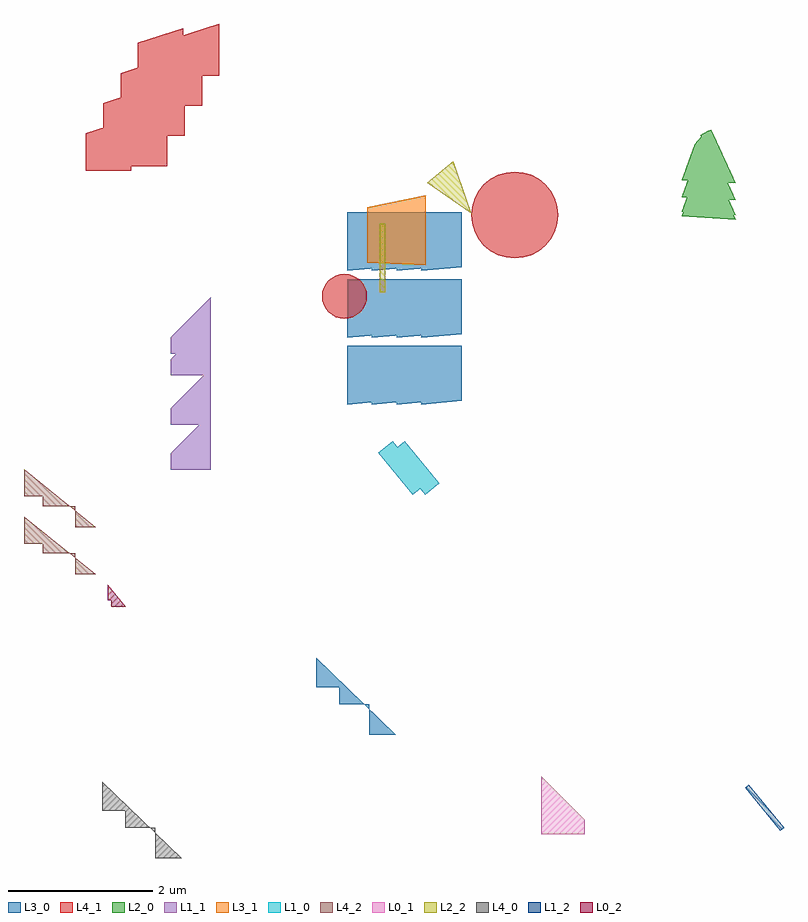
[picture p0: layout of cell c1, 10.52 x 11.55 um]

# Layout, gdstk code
from math import pi, radians
import gdstk
lib = gdstk.Library(unit=1e-6, precision=2.5e-09)
def R(c, l, rs):  # rectangles x0, y0, x1, y1
    for r in rs: c.add(gdstk.rectangle(r[:2], r[2:], *l))
def P(c, l, *ps):  # polygons
    for p in ps: c.add(gdstk.Polygon(p, *l))
L0_1 = (0, 1)
L0_2 = (0, 2)
L1_0 = (1, 0)
L1_1 = (1, 1)
L1_2 = (1, 2)
L2_0 = (2, 0)
L2_2 = (2, 2)
L3_0 = (3, 0)
L3_1 = (3, 1)
L4_0 = (4, 0)
L4_1 = (4, 1)
L4_2 = (4, 2)

c_c0 = lib.new_cell('c0')
P(c_c0, L0_1, [(-1.865,-4.2775),(-1.865,-4.0775),(-1.265,-3.4775),(-1.265,-4.2775)])
P(c_c0, L0_2, [(4.4825,-1.13),(4.6825,-1.13),(4.6825,-1.0375),(4.735,-1.0375),(4.735,-0.825)])
P(c_c0, L1_1, [(3.305,0.7675),(3.305,1.5475),(3.86,0.9925),(3.86,0.7675)],
  [(3.305,1.39),(3.305,2.17),(3.86,1.615),(3.86,1.39)],
  [(3.305,2.0725),(3.305,2.8525),(3.86,2.2975),(3.86,2.0725)],
  [(3.305,2.375),(3.305,3.155),(3.86,2.6),(3.86,2.375)])
P(c_c0, L2_0, [(-3.955,4.23),(-3.2075,4.275),(-3.3925,4.775),(-3.48,4.8775),(-3.4675,4.8975),(-3.575,4.9575),(-3.62,4.9725)],
  [(-3.955,4.29),(-3.2075,4.335),(-3.3925,4.835),(-3.48,4.9375),(-3.4675,4.9575),(-3.575,5.0175),(-3.62,5.0325)],
  [(-3.955,4.495),(-3.2075,4.54),(-3.3925,5.04),(-3.48,5.1425),(-3.4675,5.1625),(-3.575,5.2225),(-3.62,5.2375)],
  [(-3.955,4.73),(-3.2075,4.775),(-3.3925,5.275),(-3.48,5.3775),(-3.4675,5.3975),(-3.575,5.4575),(-3.62,5.4725)])
R(c_c0, L2_2, [(0.895,3.225,0.9725,4.17)])
P(c_c0, L2_2, [(-0.3,4.315),(0.315,4.74),(-0.045,5.035)])
P(c_c0, L3_0, [(-0.165,1.72),(-0.165,2.48),(0.395,2.48),(0.395,1.67)],
  [(0.1775,1.72),(0.1775,2.48),(0.7375,2.48),(0.7375,1.67)],
  [(0.52,1.72),(0.52,2.48),(1.08,2.48),(1.08,1.67)],
  [(0.8625,1.72),(0.8625,2.48),(1.4225,2.48),(1.4225,1.67)],
  [(-0.165,2.645),(-0.165,3.405),(0.395,3.405),(0.395,2.595)],
  [(0.1775,2.645),(0.1775,3.405),(0.7375,3.405),(0.7375,2.595)],
  [(0.52,2.645),(0.52,3.405),(1.08,3.405),(1.08,2.595)],
  [(0.8625,2.645),(0.8625,3.405),(1.4225,3.405),(1.4225,2.595)],
  [(-0.165,3.57),(-0.165,4.33),(0.395,4.33),(0.395,3.52)],
  [(0.1775,3.57),(0.1775,4.33),(0.7375,4.33),(0.7375,3.52)],
  [(0.52,3.57),(0.52,4.33),(1.08,4.33),(1.08,3.52)],
  [(0.8625,3.57),(0.8625,4.33),(1.4225,4.33),(1.4225,3.52)],
  [(0.7475,-2.8975),(1.1175,-2.8975),(1.1175,-2.475),(1.5325,-2.475),(1.5325,-2.24),(1.85,-2.24),(1.85,-1.8325)])
P(c_c0, L3_1, [(0.3325,3.6),(0.3325,4.5675),(1.145,4.4),(1.145,3.63)])
P(c_c0, L4_0, [(3.7075,-4.6125),(4.0775,-4.6125),(4.0775,-4.19),(4.4925,-4.19),(4.4925,-3.955),(4.81,-3.955),(4.81,-3.5475)])
P(c_c0, L4_1, [(1.7675,3.1675),(1.7625,3.2275),(1.745,3.285),(1.715,3.34),(1.6775,3.3875),(1.63,3.425),(1.575,3.455),(1.5175,3.4725),(1.4575,3.4775),(1.3975,3.4725),(1.34,3.455),(1.285,3.425),(1.2375,3.3875),(1.2,3.34),(1.17,3.285),(1.1525,3.2275),(1.1475,3.1675),(1.1525,3.1075),(1.17,3.05),(1.2,2.995),(1.2375,2.9475),(1.285,2.91),(1.34,2.88),(1.3975,2.8625),(1.4575,2.8575),(1.5175,2.8625),(1.575,2.88),(1.63,2.91),(1.6775,2.9475),(1.715,2.995),(1.745,3.05),(1.7625,3.1075)],
  [(3.9075,4.97),(3.9075,5.69),(4.535,5.485),(4.535,4.97)],
  [(4.4075,4.9075),(4.4075,5.6275),(5.035,5.4225),(5.035,4.9075)],
  [(3.6675,5.3875),(3.6675,6.1075),(4.295,5.9025),(4.295,5.3875)],
  [(4.1675,5.325),(4.1675,6.045),(4.795,5.84),(4.795,5.325)],
  [(3.4275,5.805),(3.4275,6.525),(4.055,6.32),(4.055,5.805)],
  [(3.9275,5.7425),(3.9275,6.4625),(4.555,6.2575),(4.555,5.7425)],
  [(3.1875,6.2225),(3.1875,6.9425),(3.815,6.7375),(3.815,6.2225)],
  [(3.6875,6.16),(3.6875,6.88),(4.315,6.675),(4.315,6.16)])
P(c_c0, L4_2, [(4.9025,-0.68),(5.185,-0.68),(5.185,-0.39),(5.635,-0.39),(5.635,-0.255),(5.8925,-0.255),(5.8925,0.12)],
  [(4.9025,-0.0275),(5.185,-0.0275),(5.185,0.2625),(5.635,0.2625),(5.635,0.3975),(5.8925,0.3975),(5.8925,0.7725)])
c_c0.add(gdstk.FlexPath([(0.6375,0.9825),(0.2425,0.5025)], 0.255, ends=(0.1275, 0), simple_path=True, layer=1, datatype=0))  # L1_0
c_c0.add(gdstk.FlexPath([(0.81,0.9825),(0.415,0.5025)], 0.255, ends=(0.1275, 0), simple_path=True, layer=1, datatype=0))  # L1_0
c_c0.add(gdstk.FlexPath([(-4.135,-3.64),(-4.53,-4.12)], 0.065, ends=(0.0325, 0.11), simple_path=True, layer=1, datatype=2))  # L1_2
c_c0.add(gdstk.Label('lbl2', (-2.2075,1.6375), layer=1, texttype=2))
c_c0.add(gdstk.Label('lbl2', (-2.2075,1.785), layer=1, texttype=2))
c_c0.add(gdstk.Label('lbl2', (-2.2075,1.8175), layer=1, texttype=2))
c_c0.add(gdstk.Label('lbl2', (0.9375,0.6425), layer=3, texttype=0))
c_c0.add(gdstk.Label('lbl2', (0.9375,0.71), layer=3, texttype=0))
c_c0.add(gdstk.Label('lbl0', (-3.9475,-0.545), layer=1, texttype=0))
c_c0.add(gdstk.Label('lbl0', (-4.05,0.0675), layer=1, texttype=0))
c_c0.add(gdstk.Label('lbl0', (-4.1525,0.68), layer=1, texttype=0))

c_c1 = lib.new_cell('c1')
P(c_c1, L4_1, [(-1.375,2.4375),(-1.3875,2.555),(-1.42,2.6675),(-1.475,2.77),(-1.55,2.8625),(-1.6425,2.9375),(-1.745,2.9925),(-1.8575,3.025),(-1.975,3.0375),(-2.0925,3.025),(-2.205,2.9925),(-2.3075,2.9375),(-2.4,2.8625),(-2.475,2.77),(-2.53,2.6675),(-2.5625,2.555),(-2.575,2.4375),(-2.5625,2.32),(-2.53,2.2075),(-2.475,2.105),(-2.4,2.0125),(-2.3075,1.9375),(-2.205,1.8825),(-2.0925,1.85),(-1.975,1.8375),(-1.8575,1.85),(-1.745,1.8825),(-1.6425,1.9375),(-1.55,2.0125),(-1.475,2.105),(-1.42,2.2075),(-1.3875,2.32)])
c_c1.add(gdstk.Reference(c_c0, (-2.8725,-1.855), rotation=pi, x_reflection=True))

lib.write_gds('c1.gds')
